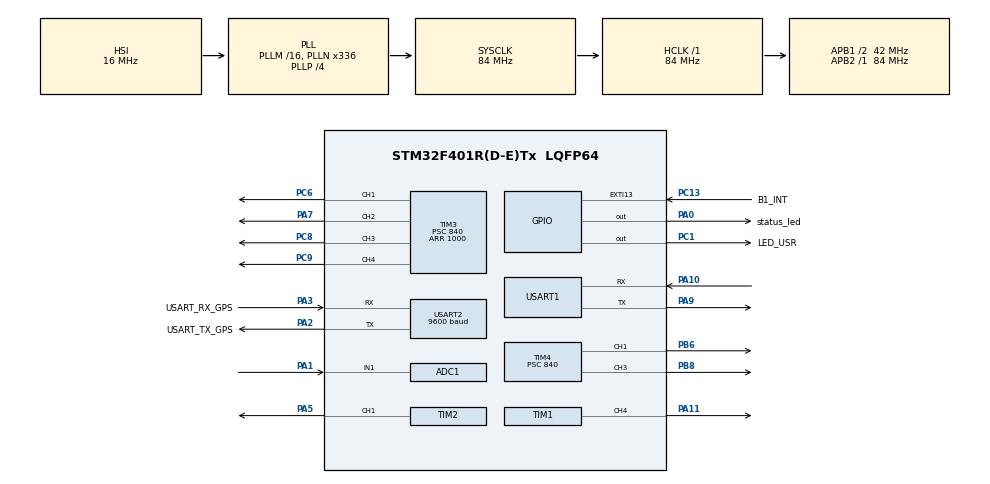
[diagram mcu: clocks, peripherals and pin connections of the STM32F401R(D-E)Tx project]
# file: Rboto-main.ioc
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ADC1.Channel-0\#ChannelRegularConversion=ADC_CHANNEL_1
ADC1.NbrOfConversionFlag=1
ADC1.master=1
Dma.Request0=USART1_RX
Dma.Request1=USART2_RX
Dma.USART1_RX.0.Direction=DMA_PERIPH_TO_MEMORY
Dma.USART1_RX.0.FIFOMode=DMA_FIFOMODE_DISABLE
Dma.USART1_RX.0.Instance=DMA2_Stream2
Dma.USART1_RX.0.MemDataAlignment=DMA_MDATAALIGN_BYTE
Dma.USART1_RX.0.MemInc=DMA_MINC_ENABLE
Dma.USART1_RX.0.Mode=DMA_CIRCULAR
Dma.USART1_RX.0.PeriphDataAlignment=DMA_PDATAALIGN_BYTE
Dma.USART1_RX.0.PeriphInc=DMA_PINC_DISABLE
Dma.USART1_RX.0.Priority=DMA_PRIORITY_LOW
Dma.USART2_RX.1.Direction=DMA_PERIPH_TO_MEMORY
Dma.USART2_RX.1.FIFOMode=DMA_FIFOMODE_DISABLE
Dma.USART2_RX.1.Instance=DMA1_Stream5
Dma.USART2_RX.1.MemDataAlignment=DMA_MDATAALIGN_BYTE
Dma.USART2_RX.1.MemInc=DMA_MINC_ENABLE
Dma.USART2_RX.1.Mode=DMA_NORMAL
Dma.USART2_RX.1.PeriphDataAlignment=DMA_PDATAALIGN_BYTE
Dma.USART2_RX.1.PeriphInc=DMA_PINC_DISABLE
Dma.USART2_RX.1.Priority=DMA_PRIORITY_LOW
Mcu.Family=STM32F4
Mcu.Name=STM32F401R(D-E)Tx
Mcu.Package=LQFP64
NVIC.DMA1_Stream5_IRQn=true\:0\:0\:false\:false\:true\:false\:true\:true
NVIC.DMA2_Stream2_IRQn=true\:0\:0\:false\:false\:true\:false\:true\:true
NVIC.EXTI15_10_IRQn=true\:0\:0\:false\:false\:true\:true\:true\:true
NVIC.PriorityGroup=NVIC_PRIORITYGROUP_0
NVIC.USART1_IRQn=true\:0\:0\:false\:false\:true\:true\:true\:true
NVIC.USART2_IRQn=true\:0\:0\:false\:false\:true\:true\:true\:true
PA0-WKUP.GPIO_Label=status_led
PA0-WKUP.Signal=GPIO_Output
PA1.Signal=ADCx_IN1
PA10.Mode=Asynchronous
PA10.Signal=USART1_RX
PA11.Signal=S_TIM1_CH4
PA13.GPIO_Label=TMS
PA13.Mode=Serial_Wire
PA13.Signal=SYS_JTMS-SWDIO
PA14.GPIO_Label=TCK
PA14.Mode=Serial_Wire
PA14.Signal=SYS_JTCK-SWCLK
PA2.GPIO_Label=USART_TX_GPS
PA2.GPIO_Mode=GPIO_MODE_AF_PP
PA2.GPIO_PuPd=GPIO_NOPULL
PA2.GPIO_Speed=GPIO_SPEED_FREQ_LOW
PA2.Mode=Asynchronous
PA2.Signal=USART2_TX
PA3.GPIO_Label=USART_RX_GPS
PA3.GPIO_Mode=GPIO_MODE_AF_PP
PA3.GPIO_PuPd=GPIO_NOPULL
PA3.GPIO_Speed=GPIO_SPEED_FREQ_LOW
PA3.Mode=Asynchronous
PA3.Signal=USART2_RX
PA5.Signal=S_TIM2_CH1_ETR
PA7.Signal=S_TIM3_CH2
PA9.Mode=Asynchronous
PA9.Signal=USART1_TX
PB3.GPIO_Label=SWO
PB3.Signal=SYS_JTDO-SWO
PB6.Signal=S_TIM4_CH1
PB8.Signal=S_TIM4_CH3
PC1.GPIO_Label=LED_USR
PC1.Signal=GPIO_Output
PC13-ANTI_TAMP.GPIO_Label=B1_INT
PC13-ANTI_TAMP.GPIO_ModeDefaultEXTI=GPIO_MODE_IT_FALLING
PC13-ANTI_TAMP.Signal=GPXTI13
PC14-OSC32_IN.Mode=LSE-External-Oscillator
PC14-OSC32_IN.Signal=RCC_OSC32_IN
PC15-OSC32_OUT.Mode=LSE-External-Oscillator
PC15-OSC32_OUT.Signal=RCC_OSC32_OUT
PC6.Signal=S_TIM3_CH1
PC8.Signal=S_TIM3_CH3
PC9.Signal=S_TIM3_CH4
PH0\ -\ OSC_IN.Mode=HSE-External-Clock-Source
PH0\ -\ OSC_IN.Signal=RCC_OSC_IN
PH1\ -\ OSC_OUT.Mode=HSE-External-Clock-Source
PH1\ -\ OSC_OUT.Signal=RCC_OSC_OUT
ProjectManager.HeapSize=0x200
ProjectManager.StackSize=0x400
ProjectManager.TargetToolchain=STM32CubeIDE
RCC.48MHZClocksFreq_Value=48000000
RCC.AHBFreq_Value=84000000
RCC.APB1CLKDivider=RCC_HCLK_DIV2
RCC.APB1Freq_Value=42000000
RCC.APB1TimFreq_Value=84000000
RCC.APB2Freq_Value=84000000
RCC.APB2TimFreq_Value=84000000
RCC.CortexFreq_Value=84000000
RCC.HCLKFreq_Value=84000000
RCC.HSE_VALUE=8000000
RCC.HSI_VALUE=16000000
RCC.PLLN=336
RCC.PLLP=RCC_PLLP_DIV4
RCC.PLLQ=7
RCC.SYSCLKFreq_VALUE=84000000
RCC.SYSCLKSource=RCC_SYSCLKSOURCE_PLLCLK
RCC.VCOOutputFreq_Value=336000000
SH.ADCx_IN1.0=ADC1_IN1,IN1
SH.S_TIM1_CH4.0=TIM1_CH4,PWM Generation4 CH4
SH.S_TIM2_CH1_ETR.0=TIM2_CH1,PWM Generation1 CH1
SH.S_TIM3_CH1.0=TIM3_CH1,PWM Generation1 CH1
SH.S_TIM3_CH2.0=TIM3_CH2,PWM Generation2 CH2
SH.S_TIM3_CH3.0=TIM3_CH3,PWM Generation3 CH3
SH.S_TIM3_CH4.0=TIM3_CH4,PWM Generation4 CH4
SH.S_TIM4_CH1.0=TIM4_CH1,PWM Generation1 CH1
SH.S_TIM4_CH3.0=TIM4_CH3,PWM Generation3 CH3
TIM1.AutoReloadPreload=TIM_AUTORELOAD_PRELOAD_ENABLE
TIM1.Channel-PWM\ Generation4\ CH4=TIM_CHANNEL_4
TIM1.Period=1000
TIM1.Prescaler=840
TIM2.AutoReloadPreload=TIM_AUTORELOAD_PRELOAD_ENABLE
TIM2.Channel-PWM\ Generation1\ CH1=TIM_CHANNEL_1
TIM2.Period=4000
TIM2.Prescaler=210
TIM3.AutoReloadPreload=TIM_AUTORELOAD_PRELOAD_ENABLE
TIM3.Channel-PWM\ Generation1\ CH1=TIM_CHANNEL_1
TIM3.Channel-PWM\ Generation2\ CH2=TIM_CHANNEL_2
TIM3.Channel-PWM\ Generation3\ CH3=TIM_CHANNEL_3
TIM3.Channel-PWM\ Generation4\ CH4=TIM_CHANNEL_4
TIM3.Period=1000
TIM3.Prescaler=840
TIM4.AutoReloadPreload=TIM_AUTORELOAD_PRELOAD_ENABLE
TIM4.Channel-PWM\ Generation1\ CH1=TIM_CHANNEL_1
TIM4.Channel-PWM\ Generation3\ CH3=TIM_CHANNEL_3
TIM4.Period=1000
TIM4.Prescaler=840
USART1.VirtualMode=VM_ASYNC
USART2.BaudRate=9600
USART2.VirtualMode=VM_ASYNC
board=NUCLEO-F401RE

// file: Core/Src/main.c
/* USER CODE BEGIN Header */
/**
 ******************************************************************************
 * @file           : main.c
 * @brief          : Main program body
 ******************************************************************************
 * @attention
 *
 * Copyright (c) 2023 STMicroelectronics.
 * All rights reserved.
 *
 * This software is licensed under terms that can be found in the LICENSE file
 * in the root directory of this software component.
 * If no LICENSE file comes with this software, it is provided AS-IS.
 *
 ******************************************************************************
 */
/* USER CODE END Header */
#include "main.h"

ADC_HandleTypeDef hadc1;

TIM_HandleTypeDef htim1;
TIM_HandleTypeDef htim2;
TIM_HandleTypeDef htim3;
TIM_HandleTypeDef htim4;

UART_HandleTypeDef huart1;
UART_HandleTypeDef huart2;
DMA_HandleTypeDef hdma_usart1_rx;
DMA_HandleTypeDef hdma_usart2_rx;

void SystemClock_Config(void);
static void MX_GPIO_Init(void);
static void MX_DMA_Init(void);
static void MX_USART2_UART_Init(void);
static void MX_TIM4_Init(void);
static void MX_TIM1_Init(void);
static void MX_TIM3_Init(void);
static void MX_USART1_UART_Init(void);
static void MX_ADC1_Init(void);
static void MX_TIM2_Init(void);
/* USER CODE BEGIN PFP */

int state = 0;

/* USER CODE END PFP */

/* USER CODE BEGIN 0 */

void HAL_GPIO_EXTI_Callback (uint16_t GPIO_Pin){

  if ( GPIO_Pin == B1_INT_Pin )
  {
	 if ( state < 3 )
		state ++;
	 else
		state = 0;
  }
}

/* USER CODE END 0 */

void leg_sweep(  TIM_HandleTypeDef htim_ , uint32_t channel_ ){

	int i = 85 ;
	int max  = 125 ;
	int min  = 25 ;
		htim_.Instance->CCR1 = i ;
	/*
	while ( i < max ){
		HAL_Delay(10);
		htim_.Instance->CCR1 = i ;
		i++;
	}
	while ( i > min){
		HAL_Delay(10);
		htim_.Instance->CCR1 = i ;
		i--;
	}
	*/

}

int main(void)
{

  /* MCU Configuration--------------------------------------------------------*/

  /* Reset of all peripherals, Initializes the Flash interface and the Systick. */
  HAL_Init();

  /* Configure the system clock */
  SystemClock_Config();

  /* Initialize all configured peripherals */
  MX_GPIO_Init();
  MX_DMA_Init();
  MX_USART2_UART_Init();
  MX_TIM4_Init();
  MX_TIM1_Init();
  MX_TIM3_Init();
  MX_USART1_UART_Init();
  MX_ADC1_Init();
  MX_TIM2_Init();
  /* USER CODE BEGIN 2 */
  HAL_TIM_PWM_Start ( &htim1 , TIM_CHANNEL_4 );
  HAL_TIM_PWM_Start ( &htim2 , TIM_CHANNEL_1 );
  HAL_TIM_PWM_Start ( &htim3 , TIM_CHANNEL_1 | TIM_CHANNEL_2 | TIM_CHANNEL_3 | TIM_CHANNEL_4);
  HAL_TIM_PWM_Start ( &htim4 , TIM_CHANNEL_1 | TIM_CHANNEL_2 | TIM_CHANNEL_3 | TIM_CHANNEL_4);
  /* USER CODE END 2 */

  /* Infinite loop */
  /* USER CODE BEGIN WHILE */

  uint8_t msg1[] = " hello from stm32 \r\n";
  uint8_t msg2[] = " hey jyothu\r\n";
  uint8_t mode[8] = "NULL";

  while (1)
  {

	 switch ( state ){

		case 0:{
					HAL_GPIO_WritePin ( status_led_GPIO_Port, status_led_Pin , GPIO_PIN_SET );
					htim2.Instance->CCR1 = 50 ;
					htim3.Instance->CCR4 = 90 ;
					strcpy(mode,"MODE0");
					break;

				 }
		case 1:{
					HAL_GPIO_WritePin ( status_led_GPIO_Port, status_led_Pin , GPIO_PIN_RESET );
					htim2.Instance->CCR1 = 100 ;
					htim3.Instance->CCR4 = 110 ;
					strcpy(mode,"MODE1");
					break;

				 }
		case 2:{
					htim2.Instance->CCR1 = 200 ;
					htim3.Instance->CCR4 = 170 ;
					HAL_GPIO_TogglePin( status_led_GPIO_Port, status_led_Pin  );
					HAL_Delay(400);
					strcpy(mode,"MODE2");
					break;
				 }
		case 3:{
					strcpy(mode,"MODE3");
					leg_sweep( htim2, TIM_CHANNEL_1 );
					/* run (); */
					/*
					htim2.Instance->CCR1 = 700 ;
					htim3.Instance->CCR4 = 210 ;
					HAL_GPIO_TogglePin( status_led_GPIO_Port, status_led_Pin  );
					HAL_UART_Transmit( &huart1 , msg2 , strlen(msg2), 10 );
					HAL_Delay(1000);
					*/
					break;
				 }
	 }

					 uint8_t rx_buf[10];
					HAL_UART_Receive( &huart1 , rx_buf , sizeof(rx_buf), 600 );
					int val = atoi(rx_buf);

					HAL_UART_Transmit( &huart1 , "rx:", 4 , 10 );
					HAL_UART_Transmit( &huart1 , rx_buf , strlen( rx_buf ), 10 );
					HAL_UART_Transmit( &huart1 , "\r\n", 2 , 10 );
					HAL_UART_Transmit( &huart1 , mode, strlen(mode), 10 );
					HAL_UART_Transmit( &huart1 , "\r\n", 2 , 10 );

	 HAL_Delay(500);

/*
	 uint8_t uart_rx_buf[200] ;
	 int num = 10 ;

	 sprintf(uart_tx_buf,"%d", num );

	 HAL_StatusTypeDef  st = HAL_UART_Receive_IT (&huart1, uart_rx_buf , sizeof(uart_rx_buf ) ) ;

	 if ( st == HAL_OK ){
		strlcpy(uart_tx_buf , uart_rx_buf, 200);

		HAL_GPIO_WritePin ( status_led_GPIO_Port, status_led_Pin , GPIO_PIN_SET );
		HAL_UART_Transmit( &huart1 , uart_tx_buf , 200 , 10);
		HAL_UART_Transmit( &huart1 ,end , sizeof(end) , 10);

	 }
	 else{
		HAL_GPIO_WritePin ( status_led_GPIO_Port, status_led_Pin , GPIO_PIN_RESET );
	 }

	 HAL_Delay(1000);
*/

    /* USER CODE END WHILE */

  }
}

void SystemClock_Config(void)
{
  RCC_OscInitTypeDef RCC_OscInitStruct = {0};
  RCC_ClkInitTypeDef RCC_ClkInitStruct = {0};

  /** Configure the main internal regulator output voltage
  */
  __HAL_RCC_PWR_CLK_ENABLE();
  __HAL_PWR_VOLTAGESCALING_CONFIG(PWR_REGULATOR_VOLTAGE_SCALE2);

  /** Initializes the RCC Oscillators according to the specified parameters
  * in the RCC_OscInitTypeDef structure.
  */
  RCC_OscInitStruct.OscillatorType = RCC_OSCILLATORTYPE_HSI;
  RCC_OscInitStruct.HSIState = RCC_HSI_ON;
  RCC_OscInitStruct.HSICalibrationValue = RCC_HSICALIBRATION_DEFAULT;
  RCC_OscInitStruct.PLL.PLLState = RCC_PLL_ON;
  RCC_OscInitStruct.PLL.PLLSource = RCC_PLLSOURCE_HSI;
  RCC_OscInitStruct.PLL.PLLM = 16;
  RCC_OscInitStruct.PLL.PLLN = 336;
  RCC_OscInitStruct.PLL.PLLP = RCC_PLLP_DIV4;
  RCC_OscInitStruct.PLL.PLLQ = 7;
  if (HAL_RCC_OscConfig(&RCC_OscInitStruct) != HAL_OK)
  {
    Error_Handler();
  }

  /** Initializes the CPU, AHB and APB buses clocks
  */
  RCC_ClkInitStruct.ClockType = RCC_CLOCKTYPE_HCLK|RCC_CLOCKTYPE_SYSCLK
                              |RCC_CLOCKTYPE_PCLK1|RCC_CLOCKTYPE_PCLK2;
  RCC_ClkInitStruct.SYSCLKSource = RCC_SYSCLKSOURCE_PLLCLK;
  RCC_ClkInitStruct.AHBCLKDivider = RCC_SYSCLK_DIV1;
  RCC_ClkInitStruct.APB1CLKDivider = RCC_HCLK_DIV2;
  RCC_ClkInitStruct.APB2CLKDivider = RCC_HCLK_DIV1;

  if (HAL_RCC_ClockConfig(&RCC_ClkInitStruct, FLASH_LATENCY_2) != HAL_OK)
  {
    Error_Handler();
  }
}

static void MX_ADC1_Init(void)
{

  ADC_ChannelConfTypeDef sConfig = {0};

  /** Configure the global features of the ADC (Clock, Resolution, Data Alignment and number of conversion)
  */
  hadc1.Instance = ADC1;
  hadc1.Init.ClockPrescaler = ADC_CLOCK_SYNC_PCLK_DIV4;
  hadc1.Init.Resolution = ADC_RESOLUTION_12B;
  hadc1.Init.ScanConvMode = DISABLE;
  hadc1.Init.ContinuousConvMode = DISABLE;
  hadc1.Init.DiscontinuousConvMode = DISABLE;
  hadc1.Init.ExternalTrigConvEdge = ADC_EXTERNALTRIGCONVEDGE_NONE;
  hadc1.Init.ExternalTrigConv = ADC_SOFTWARE_START;
  hadc1.Init.DataAlign = ADC_DATAALIGN_RIGHT;
  hadc1.Init.NbrOfConversion = 1;
  hadc1.Init.DMAContinuousRequests = DISABLE;
  hadc1.Init.EOCSelection = ADC_EOC_SINGLE_CONV;
  if (HAL_ADC_Init(&hadc1) != HAL_OK)
  {
    Error_Handler();
  }

  /** Configure for the selected ADC regular channel its corresponding rank in the sequencer and its sample time.
  */
  sConfig.Channel = ADC_CHANNEL_1;
  sConfig.Rank = 1;
  sConfig.SamplingTime = ADC_SAMPLETIME_3CYCLES;
  if (HAL_ADC_ConfigChannel(&hadc1, &sConfig) != HAL_OK)
  {
    Error_Handler();
  }

}

static void MX_TIM1_Init(void)
{

  TIM_MasterConfigTypeDef sMasterConfig = {0};
  TIM_OC_InitTypeDef sConfigOC = {0};
  TIM_BreakDeadTimeConfigTypeDef sBreakDeadTimeConfig = {0};

  htim1.Instance = TIM1;
  htim1.Init.Prescaler = 840;
  htim1.Init.CounterMode = TIM_COUNTERMODE_UP;
  htim1.Init.Period = 1000;
  htim1.Init.ClockDivision = TIM_CLOCKDIVISION_DIV1;
  htim1.Init.RepetitionCounter = 0;
  htim1.Init.AutoReloadPreload = TIM_AUTORELOAD_PRELOAD_ENABLE;
  if (HAL_TIM_PWM_Init(&htim1) != HAL_OK)
  {
    Error_Handler();
  }
  sMasterConfig.MasterOutputTrigger = TIM_TRGO_RESET;
  sMasterConfig.MasterSlaveMode = TIM_MASTERSLAVEMODE_DISABLE;
  if (HAL_TIMEx_MasterConfigSynchronization(&htim1, &sMasterConfig) != HAL_OK)
  {
    Error_Handler();
  }
  sConfigOC.OCMode = TIM_OCMODE_PWM1;
  sConfigOC.Pulse = 0;
  sConfigOC.OCPolarity = TIM_OCPOLARITY_HIGH;
  sConfigOC.OCFastMode = TIM_OCFAST_DISABLE;
  sConfigOC.OCIdleState = TIM_OCIDLESTATE_RESET;
  sConfigOC.OCNIdleState = TIM_OCNIDLESTATE_RESET;
  if (HAL_TIM_PWM_ConfigChannel(&htim1, &sConfigOC, TIM_CHANNEL_4) != HAL_OK)
  {
    Error_Handler();
  }
  sBreakDeadTimeConfig.OffStateRunMode = TIM_OSSR_DISABLE;
  sBreakDeadTimeConfig.OffStateIDLEMode = TIM_OSSI_DISABLE;
  sBreakDeadTimeConfig.LockLevel = TIM_LOCKLEVEL_OFF;
  sBreakDeadTimeConfig.DeadTime = 0;
  sBreakDeadTimeConfig.BreakState = TIM_BREAK_DISABLE;
  sBreakDeadTimeConfig.BreakPolarity = TIM_BREAKPOLARITY_HIGH;
  sBreakDeadTimeConfig.AutomaticOutput = TIM_AUTOMATICOUTPUT_DISABLE;
  if (HAL_TIMEx_ConfigBreakDeadTime(&htim1, &sBreakDeadTimeConfig) != HAL_OK)
  {
    Error_Handler();
  }
  HAL_TIM_MspPostInit(&htim1);

}

static void MX_TIM2_Init(void)
{

  TIM_MasterConfigTypeDef sMasterConfig = {0};
  TIM_OC_InitTypeDef sConfigOC = {0};

  htim2.Instance = TIM2;
  htim2.Init.Prescaler = 210;
  htim2.Init.CounterMode = TIM_COUNTERMODE_UP;
  htim2.Init.Period = 4000;
  htim2.Init.ClockDivision = TIM_CLOCKDIVISION_DIV1;
  htim2.Init.AutoReloadPreload = TIM_AUTORELOAD_PRELOAD_ENABLE;
  if (HAL_TIM_PWM_Init(&htim2) != HAL_OK)
  {
    Error_Handler();
  }
  sMasterConfig.MasterOutputTrigger = TIM_TRGO_RESET;
  sMasterConfig.MasterSlaveMode = TIM_MASTERSLAVEMODE_DISABLE;
  if (HAL_TIMEx_MasterConfigSynchronization(&htim2, &sMasterConfig) != HAL_OK)
  {
    Error_Handler();
  }
  sConfigOC.OCMode = TIM_OCMODE_PWM1;
  sConfigOC.Pulse = 0;
  sConfigOC.OCPolarity = TIM_OCPOLARITY_HIGH;
  sConfigOC.OCFastMode = TIM_OCFAST_DISABLE;
  if (HAL_TIM_PWM_ConfigChannel(&htim2, &sConfigOC, TIM_CHANNEL_1) != HAL_OK)
  {
    Error_Handler();
  }
  HAL_TIM_MspPostInit(&htim2);

}

static void MX_TIM3_Init(void)
{

  TIM_MasterConfigTypeDef sMasterConfig = {0};
  TIM_OC_InitTypeDef sConfigOC = {0};

  htim3.Instance = TIM3;
  htim3.Init.Prescaler = 840;
  htim3.Init.CounterMode = TIM_COUNTERMODE_UP;
  htim3.Init.Period = 1000;
  htim3.Init.ClockDivision = TIM_CLOCKDIVISION_DIV1;
  htim3.Init.AutoReloadPreload = TIM_AUTORELOAD_PRELOAD_ENABLE;
  if (HAL_TIM_PWM_Init(&htim3) != HAL_OK)
  {
    Error_Handler();
  }
  sMasterConfig.MasterOutputTrigger = TIM_TRGO_RESET;
  sMasterConfig.MasterSlaveMode = TIM_MASTERSLAVEMODE_DISABLE;
  if (HAL_TIMEx_MasterConfigSynchronization(&htim3, &sMasterConfig) != HAL_OK)
  {
    Error_Handler();
  }
  sConfigOC.OCMode = TIM_OCMODE_PWM1;
  sConfigOC.Pulse = 0;
  sConfigOC.OCPolarity = TIM_OCPOLARITY_HIGH;
  sConfigOC.OCFastMode = TIM_OCFAST_DISABLE;
  if (HAL_TIM_PWM_ConfigChannel(&htim3, &sConfigOC, TIM_CHANNEL_1) != HAL_OK)
  {
    Error_Handler();
  }
  if (HAL_TIM_PWM_ConfigChannel(&htim3, &sConfigOC, TIM_CHANNEL_2) != HAL_OK)
  {
    Error_Handler();
  }
  if (HAL_TIM_PWM_ConfigChannel(&htim3, &sConfigOC, TIM_CHANNEL_3) != HAL_OK)
  {
    Error_Handler();
  }
  if (HAL_TIM_PWM_ConfigChannel(&htim3, &sConfigOC, TIM_CHANNEL_4) != HAL_OK)
  {
    Error_Handler();
  }
  HAL_TIM_MspPostInit(&htim3);

}

static void MX_TIM4_Init(void)
{

  TIM_MasterConfigTypeDef sMasterConfig = {0};
  TIM_OC_InitTypeDef sConfigOC = {0};

  htim4.Instance = TIM4;
  htim4.Init.Prescaler = 840;
  htim4.Init.CounterMode = TIM_COUNTERMODE_UP;
  htim4.Init.Period = 1000;
  htim4.Init.ClockDivision = TIM_CLOCKDIVISION_DIV1;
  htim4.Init.AutoReloadPreload = TIM_AUTORELOAD_PRELOAD_ENABLE;
  if (HAL_TIM_PWM_Init(&htim4) != HAL_OK)
  {
    Error_Handler();
  }
  sMasterConfig.MasterOutputTrigger = TIM_TRGO_RESET;
  sMasterConfig.MasterSlaveMode = TIM_MASTERSLAVEMODE_DISABLE;
  if (HAL_TIMEx_MasterConfigSynchronization(&htim4, &sMasterConfig) != HAL_OK)
  {
    Error_Handler();
  }
  sConfigOC.OCMode = TIM_OCMODE_PWM1;
  sConfigOC.Pulse = 0;
  sConfigOC.OCPolarity = TIM_OCPOLARITY_HIGH;
  sConfigOC.OCFastMode = TIM_OCFAST_DISABLE;
  if (HAL_TIM_PWM_ConfigChannel(&htim4, &sConfigOC, TIM_CHANNEL_1) != HAL_OK)
  {
    Error_Handler();
  }
  if (HAL_TIM_PWM_ConfigChannel(&htim4, &sConfigOC, TIM_CHANNEL_3) != HAL_OK)
  {
    Error_Handler();
  }
  HAL_TIM_MspPostInit(&htim4);

}

static void MX_USART1_UART_Init(void)
{

  huart1.Instance = USART1;
  huart1.Init.BaudRate = 115200;
  huart1.Init.WordLength = UART_WORDLENGTH_8B;
  huart1.Init.StopBits = UART_STOPBITS_1;
  huart1.Init.Parity = UART_PARITY_NONE;
  huart1.Init.Mode = UART_MODE_TX_RX;
  huart1.Init.HwFlowCtl = UART_HWCONTROL_NONE;
  huart1.Init.OverSampling = UART_OVERSAMPLING_16;
  if (HAL_UART_Init(&huart1) != HAL_OK)
  {
    Error_Handler();
  }

}

static void MX_USART2_UART_Init(void)
{

  huart2.Instance = USART2;
  huart2.Init.BaudRate = 9600;
  huart2.Init.WordLength = UART_WORDLENGTH_8B;
  huart2.Init.StopBits = UART_STOPBITS_1;
  huart2.Init.Parity = UART_PARITY_NONE;
  huart2.Init.Mode = UART_MODE_TX_RX;
  huart2.Init.HwFlowCtl = UART_HWCONTROL_NONE;
  huart2.Init.OverSampling = UART_OVERSAMPLING_16;
  if (HAL_UART_Init(&huart2) != HAL_OK)
  {
    Error_Handler();
  }

}

static void MX_DMA_Init(void)
{

  /* DMA controller clock enable */
  __HAL_RCC_DMA2_CLK_ENABLE();
  __HAL_RCC_DMA1_CLK_ENABLE();

  /* DMA interrupt init */
  /* DMA1_Stream5_IRQn interrupt configuration */
  HAL_NVIC_SetPriority(DMA1_Stream5_IRQn, 0, 0);
  HAL_NVIC_EnableIRQ(DMA1_Stream5_IRQn);
  /* DMA2_Stream2_IRQn interrupt configuration */
  HAL_NVIC_SetPriority(DMA2_Stream2_IRQn, 0, 0);
  HAL_NVIC_EnableIRQ(DMA2_Stream2_IRQn);

}

static void MX_GPIO_Init(void)
{
  GPIO_InitTypeDef GPIO_InitStruct = {0};

  /* GPIO Ports Clock Enable */
  __HAL_RCC_GPIOC_CLK_ENABLE();
  __HAL_RCC_GPIOH_CLK_ENABLE();
  __HAL_RCC_GPIOA_CLK_ENABLE();
  __HAL_RCC_GPIOB_CLK_ENABLE();

  /*Configure GPIO pin Output Level */
  HAL_GPIO_WritePin(LED_USR_GPIO_Port, LED_USR_Pin, GPIO_PIN_RESET);

  /*Configure GPIO pin Output Level */
  HAL_GPIO_WritePin(status_led_GPIO_Port, status_led_Pin, GPIO_PIN_RESET);

  /*Configure GPIO pin : B1_INT_Pin */
  GPIO_InitStruct.Pin = B1_INT_Pin;
  GPIO_InitStruct.Mode = GPIO_MODE_IT_FALLING;
  GPIO_InitStruct.Pull = GPIO_NOPULL;
  HAL_GPIO_Init(B1_INT_GPIO_Port, &GPIO_InitStruct);

  /*Configure GPIO pin : LED_USR_Pin */
  GPIO_InitStruct.Pin = LED_USR_Pin;
  GPIO_InitStruct.Mode = GPIO_MODE_OUTPUT_PP;
  GPIO_InitStruct.Pull = GPIO_NOPULL;
  GPIO_InitStruct.Speed = GPIO_SPEED_FREQ_LOW;
  HAL_GPIO_Init(LED_USR_GPIO_Port, &GPIO_InitStruct);

  /*Configure GPIO pin : status_led_Pin */
  GPIO_InitStruct.Pin = status_led_Pin;
  GPIO_InitStruct.Mode = GPIO_MODE_OUTPUT_PP;
  GPIO_InitStruct.Pull = GPIO_NOPULL;
  GPIO_InitStruct.Speed = GPIO_SPEED_FREQ_LOW;
  HAL_GPIO_Init(status_led_GPIO_Port, &GPIO_InitStruct);

  /* EXTI interrupt init*/
  HAL_NVIC_SetPriority(EXTI15_10_IRQn, 0, 0);
  HAL_NVIC_EnableIRQ(EXTI15_10_IRQn);

}

/* USER CODE BEGIN 4 */

uint8_t uart_tx_buf[20] ;
uint8_t end[] = "\r\n";

void run(){

// uart interrupt config
  HAL_StatusTypeDef st = HAL_UART_Receive_IT( &huart1 , uart_tx_buf , 20 );
  if (  st  == HAL_OK ){
	 uint8_t msg[] = "Receive mode ok \r\n";
	 HAL_UART_Transmit_IT( &huart1 , msg , sizeof( msg  ));
  }

  /*
	  htim2.Instance->CCR1 = 222;
	  HAL_Delay(1500);
	  htim2.Instance->CCR1 = 32;

	  htim4.Instance->CCR3 = 222;
	  htim4.Instance->CCR4 = 32;
	  HAL_Delay(1500);

	  htim4.Instance->CCR3 = 55;
	  htim4.Instance->CCR4 = 100;
	  HAL_Delay(1500);
	  */
	 /* sprintf(uart_tx_buf,"%d", state ); */
}

void HAL_UART_RxCpltCallback( UART_HandleTypeDef *huart ){
  HAL_UART_Transmit( &huart1 , uart_tx_buf , strlen(uart_tx_buf) ,10 );
  HAL_UART_Transmit( &huart1 ,end , sizeof(end) , 10);
}

/* USER CODE END 4 */

void Error_Handler(void)
{
  __disable_irq();
  while (1)
  {
  }
}
